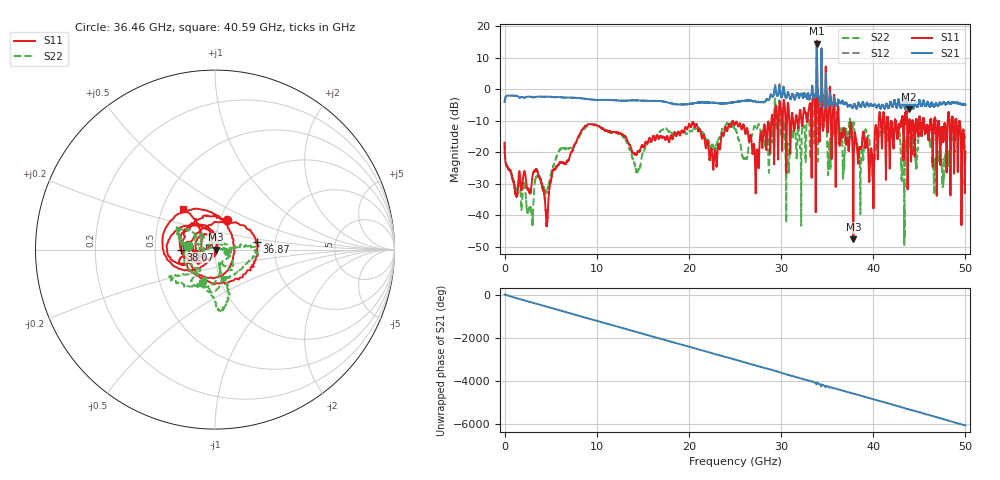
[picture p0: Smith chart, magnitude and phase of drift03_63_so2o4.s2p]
!Created with skrf (http://scikit-rf.org).
# Hz S RI R 50.0
!freq ReS11 ImS11 ReS21 ImS21 ReS12 ImS12 ReS22 ImS22
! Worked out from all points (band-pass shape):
!   10001 points, 300 kHz to 50 GHz, reference 50 ohm
!   highest |S21| = 14.53 dB at 33.88 GHz (marker M1); lowest = -6.3 dB at 43.9 GHz (marker M2)
!   |S21| within 3 dB of the highest: 33.86906 GHz to 33.88802 GHz (18.96 MHz wide, 0.056 % of centre); 34.37678 GHz to 34.38843 GHz (11.65 MHz wide, 0.0339 % of centre)
!   lowest |S11| = -47.5 dB at 37.84 GHz (marker M3), VSWR 1.01, Z = 50.4 - j0.0889 ohm
!   |S11| at or under -10 dB: start of sweep to 28.94 GHz; 36.27 GHz to 40.6 GHz (4.336 GHz wide, 11.3 % of centre); 46.75 GHz to 48.08 GHz (1.327 GHz wide, 2.8 % of centre) (the widest 3 of 61)
!   |S22| runs from -49.8 to 11.1 dB; largest |S21 - S12| = 0.82
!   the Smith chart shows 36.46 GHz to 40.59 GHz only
!   S11 on the Smith chart (normalised r, x): 36.46 GHz: 1.07, +0.37; 36.87 GHz: 1.60, +0.14; 38.07 GHz: 0.68, -0.00; 40.59 GHz: 0.63, +0.31
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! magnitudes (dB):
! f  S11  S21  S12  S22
! 300 kHz  -17.0  -4.0  -4.0  -16.6
! 2.82 GHz  -32.7  -2.4  -2.4  -38.0
! 4.555 GHz  -43.4  -2.3  -2.3  -32.4
! 8.335 GHz  -13.1  -2.8  -2.8  -13.9
! 14.44 GHz  -19.9  -3.5  -3.5  -26.1
! 16.67 GHz  -15.4  -3.7  -3.7  -14.3
! 22.82 GHz  -19.3  -4.3  -4.3  -19.2
! 25 GHz  -11.0  -4.0  -4.0  -12.5
! 27.39 GHz  -19.3  -4.1  -4.1  -12.4
! 29.6 GHz  -10.5  -2.0  -2.1  -11.7
! 30.7 GHz  -5.6  -1.4  -1.4  -17.2
! 33.34 GHz  -14.0  -0.3  -0.5  -7.0
! 33.88 GHz  15.5  14.5  14.2  11.1
! 36.46 GHz  -15.0  -4.4  -4.4  -16.4
! 36.87 GHz  -12.6  -4.6  -4.6  -21.3
! 37.84 GHz  -47.5  -5.4  -5.4  -10.9
! 38.07 GHz  -14.4  -5.5  -5.4  -17.2
! 39.81 GHz  -19.4  -4.9  -4.8  -23.9
! 40.59 GHz  -10.8  -4.9  -4.9  -14.1
! 41.67 GHz  -12.3  -5.9  -5.9  -15.4
! 43.9 GHz  -9.5  -6.3  -6.3  -17.1
! 50 GHz  -19.7  -4.9  -4.9  -15.1
